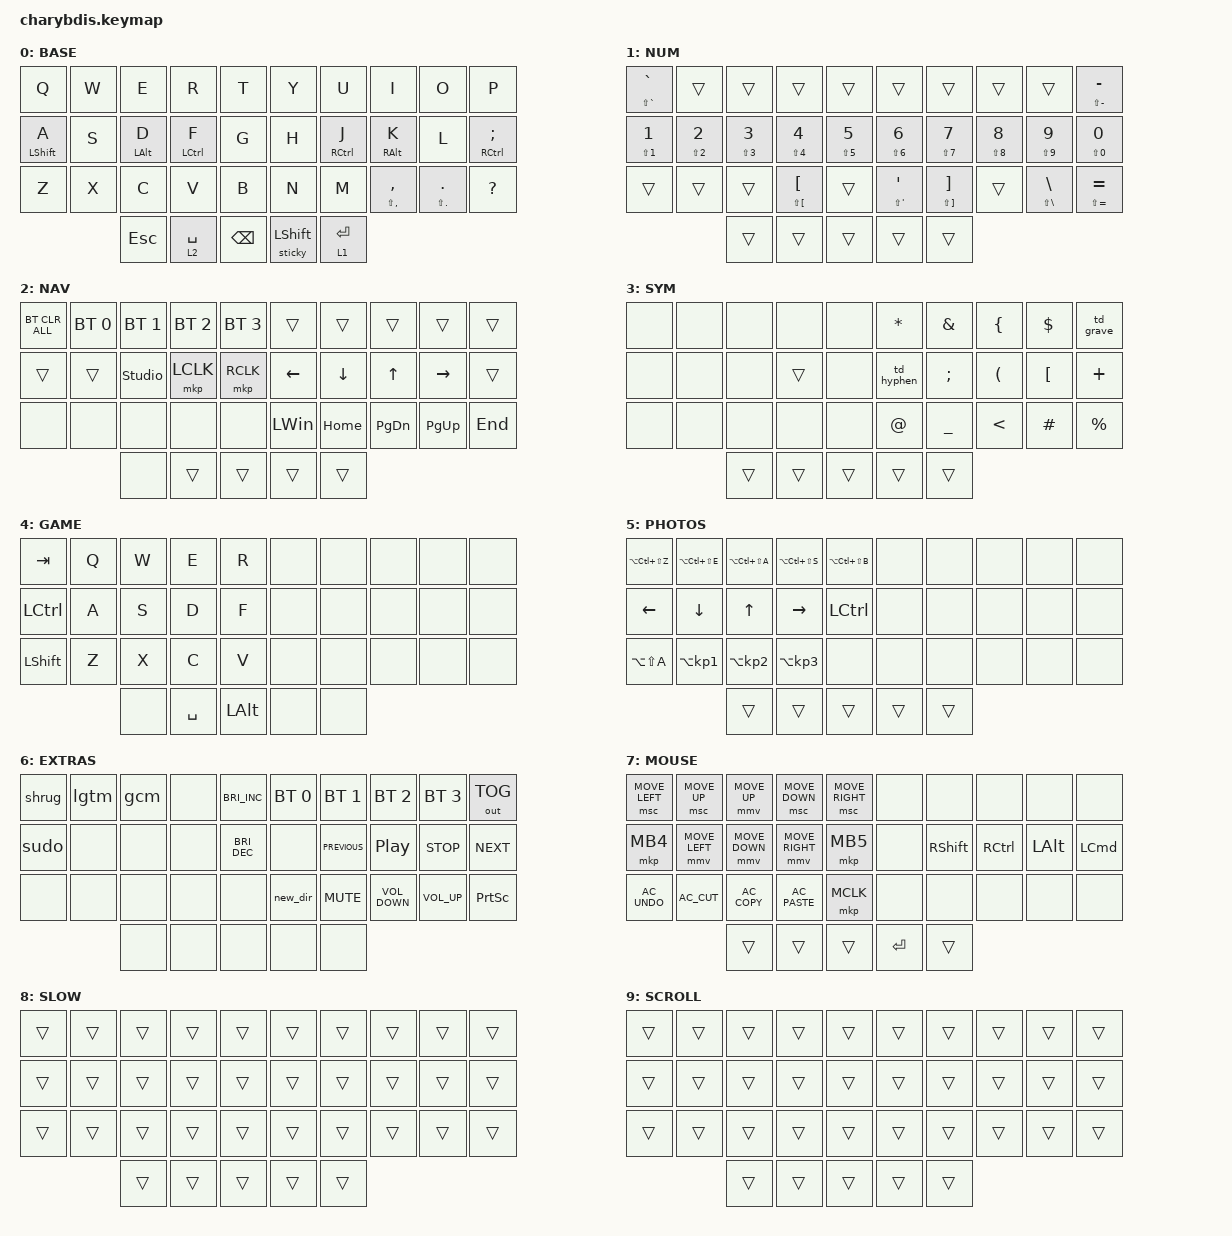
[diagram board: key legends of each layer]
#include <behaviors.dtsi>
#include <dt-bindings/zmk/bt.h>
#include <dt-bindings/zmk/keys.h>
#include <dt-bindings/zmk/mouse.h>
#include <dt-bindings/zmk/outputs.h>
#include <behaviors/mouse_keys.dtsi>
#include <dt-bindings/zmk/ext_power.h>
#include "macros.dtsi"
#include "behaviors.dtsi"
#include "combos.dtsi"
#include <dt-bindings/zmk/pointing.h>

/ {
    /* input config for mouse move mode */

    trackball_listener {
        compatible = "zmk,input-behavior-listener";
        device = <&vtrackball>;
        layers = <0 1 2 3 4 5 6 7>;
        evt-type = <INPUT_EV_REL>;
        x-input-code = <INPUT_REL_X>;
        y-input-code = <INPUT_REL_Y>;
        scale-multiplier = <4>;
        scale-divisor = <5>;

        // bindings = <&ib_toggle_layer 7>;
    };

    /* input config for snipe mode */

    trackball_snipe_listener {
        compatible = "zmk,input-behavior-listener";
        device = <&vtrackball>;
        layers = <8>;
        evt-type = <INPUT_EV_REL>;
        x-input-code = <INPUT_REL_X>;
        y-input-code = <INPUT_REL_Y>;
        scale-multiplier = <1>;
        scale-divisor = <6>;
    };

    /* input config for mouse scroll mode */

    trackball_scroll_listener {
        compatible = "zmk,input-behavior-listener";
        device = <&vtrackball>;
        layers = <9>;
        evt-type = <INPUT_EV_REL>;
        x-input-code = <INPUT_REL_MISC>;
        y-input-code = <INPUT_REL_WHEEL>;
        y-invert;
        bindings = <&ib_wheel_scaler 1 14>;
    };

    /* define a resolution down scaler only for INPUT_REL_WHEEL */

    ib_wheel_scaler: ib_wheel_scaler {
        compatible = "zmk,input-behavior-scaler";
        #binding-cells = <2>;
        evt-type = <INPUT_EV_REL>;
        input-code = <INPUT_REL_WHEEL>;
    };

    /* adjust cooldown waiting period for mouse key layer after activated */

    ib_toggle_layer: ib_toggle_layer {
        compatible = "zmk,input-behavior-tog-layer";
        #binding-cells = <1>;
        time-to-live-ms = <750>;
    };

    // ╭──────┬──────┬──────┬──────┬──────┬──────╮  ╭──────┬──────┬──────┬──────┬──────┬──────╮
    //    00     01     02     03    04      05        06     07     08     09     10     11
    // ├──────┼──────┼──────┼──────┼──────┼──────┤  ├──────┼──────┼──────┼──────┼──────┼──────┤
    //    12     13     14     15    16      17        18     19     20     21     22     23
    // ├──────┼──────┼──────┼──────┼──────┼──────┤  ├──────┼──────┼──────┼──────┼──────┼──────┤
    //    24     25     26     27    28      29        30     31     32     33     34     35
    // ╰──────┴──────┴──────┼──────┼──────┼──────┤  ├──────┼──────┼──────┴──────┴──────┴──────╯
    //                         36     37     38        39     40
    //                      ╰──────┴──────┴──────╯  ╰──────┴──────╯
    // #define BASE    0
    // #define NUM     1
    // #define NAV     2
    // #define SYM     3
    // #define GAME    4
    // #define PHOTOS  5
    // #define EXTRAS  6
    // #define MOUSE   7
    // #define SLOW    8
    // #define SCROLL  9

    behaviors {
        hm_rick: hmrick {
            compatible = "zmk,behavior-hold-tap";
            label = "HMRICK";
            bindings = <&kp>, <&kp>;

            #binding-cells = <2>;
            flavor = "tap-preferred";
            tapping-term-ms = <200>; // triggers the hold behavior when the tapping-term-ms has expired
            quick-tap-ms = <175>; // If you press a tapped hold-tap again within quick-tap-ms milliseconds of the first press, it will always trigger the tap behavior.
            require-prior-idle-ms = <185>; // like quick-tap-ms however it will apply for any non-modifier key pressed before it
        };

        as_ht: autoshift_hold_tap {
            compatible = "zmk,behavior-hold-tap";
            label = "AUTOSHIFT_HOLD_TAP";
            #binding-cells = <2>;
            tapping-term-ms = <200>;
            bindings = <&shifted>, <&kp>;
        };

        sticky: sticky {
            compatible = "zmk,behavior-sticky-key";
            label = "STICKY";
            bindings = <&kp>;
            #binding-cells = <1>;
            release-after-ms = <10000>;
        };
    };

    macros {
        shifted: macro_shifted_kp {
            #binding-cells = <1>;
            label = "MACRO_SHIFTED_KP";
            compatible = "zmk,behavior-macro-one-param";
            bindings =
                <&macro_press>,
                <&kp LSHFT &macro_param_1to1>,
                <&macro_tap>,
                <&kp MACRO_PLACEHOLDER>,
                <&macro_release>,
                <&kp LSHFT>;
        };

        as: autoshift {
            compatible = "zmk,behavior-macro-one-param";
            #binding-cells = <1>;
            label = "AUTOSHIFT_KP";
            bindings =
                <&macro_press>,
                <&macro_param_1to1 &macro_param_1to2 &as_ht MACRO_PLACEHOLDER MACRO_PLACEHOLDER>,
                <&macro_pause_for_release>,
                <&macro_release>,
                <&macro_param_1to1 &macro_param_1to2 &as_ht MACRO_PLACEHOLDER MACRO_PLACEHOLDER>;
        };
    };

    keymap {
        compatible = "zmk,keymap";

        BASE {
            bindings = <
  &kp Q                  &kp W  &kp E                &kp R                    &kp T            &kp Y               &kp U                     &kp I                   &kp O                     &kp P
  &hm_rick LEFT_SHIFT A  &kp S  &hm_rick LEFT_ALT D  &hm_rick LEFT_CONTROL F  &kp G            &kp H               &hm_rick RIGHT_CONTROL J  &as_ht RIGHT_ALT K      &kp L                     &hm_rick RIGHT_CONTROL SEMI
  &kp Z                  &kp X  &kp C                &kp V                    &kp B            &kp N               &kp M                     &as_ht LS(COMMA) COMMA  &as_ht LS(PERIOD) PERIOD  &kp QUESTION
                                &kp ESCAPE           &lt 2 SPACE              &kp BACKSPACE    &sticky LEFT_SHIFT  &lt 1 ENTER
            >;
        };

        NUM {
            bindings = <
  &as_ht LS(GRAVE) GRAVE  &trans            &trans            &trans                &trans              &trans                                &trans                &trans            &trans                          &as_ht LS(MINUS) MINUS
  &as_ht LS(N1) NUMBER_1  &as_ht LS(N2) N2  &as_ht LS(N3) N3  &as_ht LS(N4) N4      &as_ht LS(N5) N5    &as_ht LS(N6) N6                      &as_ht LS(N7) N7      &as_ht LS(N8) N8  &as_ht LS(N9) N9                &as_ht LS(N0) N0
  &trans                  &trans            &trans            &as_ht LS(LBKT) LBKT  &trans              &as_ht LS(SINGLE_QUOTE) SINGLE_QUOTE  &as_ht LS(RBKT) RBKT  &trans            &as_ht LS(BACKSLASH) BACKSLASH  &as_ht LS(EQUAL) EQUAL
                                            &trans            &trans                &trans              &trans                                &trans
            >;
        };

        NAV {
            bindings = <
  &bt BT_CLR_ALL  &bt BT_SEL 0  &bt BT_SEL 1    &bt BT_SEL 2  &bt BT_SEL 3    &trans          &trans          &trans        &trans     &trans
  &trans          &trans        &studio_unlock  &mkp LCLK     &mkp RCLK       &kp LEFT_ARROW  &kp DOWN_ARROW  &kp UP_ARROW  &kp RIGHT  &trans
  &none           &none         &none           &none         &none           &kp LEFT_WIN    &kp HOME        &kp PG_DN     &kp PG_UP  &kp END
                                &none           &trans        &trans          &trans          &trans
            >;
        };

        SYM {
            bindings = <
  &none  &none  &none   &none   &none     &kp ASTRK    &kp AMPS        &kp LEFT_BRACE  &kp DLLR  &td_grave
  &none  &none  &none   &trans  &none     &td_hyphen   &kp SEMICOLON   &kp LPAR        &kp LBKT  &kp PLUS
  &none  &none  &none   &none   &none     &kp AT_SIGN  &kp UNDERSCORE  &kp LT          &kp HASH  &kp PRCNT
                &trans  &trans  &trans    &trans       &trans
            >;
        };

        GAME {
            bindings = <
  &kp TAB    &kp Q  &kp W  &kp E      &kp R           &none  &none  &none  &none  &none
  &kp LCTRL  &kp A  &kp S  &kp D      &kp F           &none  &none  &none  &none  &none
  &kp LSHFT  &kp Z  &kp X  &kp C      &kp V           &none  &none  &none  &none  &none
                    &none  &kp SPACE  &kp LEFT_ALT    &none  &none
            >;
        };

        PHOTOS {
            bindings = <
  &kp LA(LC(LS(Z)))  &kp LA(LC(LS(E)))  &kp LA(LC(LS(A)))  &kp LA(LC(LS(S)))  &kp LA(LC(LS(B)))    &none   &none   &none  &none  &none
  &kp LEFT           &kp DOWN           &kp UP             &kp RIGHT          &kp LCTRL            &none   &none   &none  &none  &none
  &kp LA(LS(A))      &kp LA(KP_N1)      &kp LA(KP_N2)      &kp LA(KP_N3)      &none                &none   &none   &none  &none  &none
                                        &trans             &trans             &trans               &trans  &trans
            >;
        };

        EXTRAS {
            bindings = <
  &shrug  &lgtm  &gcm   &none  &kp C_BRIGHTNESS_INC    &bt BT_SEL 0  &bt BT_SEL 1    &bt BT_SEL 2       &bt BT_SEL 3     &out OUT_TOG
  &sudo   &none  &none  &none  &kp C_BRIGHTNESS_DEC    &none         &kp C_PREVIOUS  &kp C_PLAY_PAUSE   &kp C_STOP       &kp C_NEXT
  &none   &none  &none  &none  &none                   &new_dir      &kp K_MUTE      &kp C_VOLUME_DOWN  &kp C_VOLUME_UP  &kp PRINTSCREEN
                 &none  &none  &none                   &none         &none
            >;
        };

        MOUSE {
            bindings = <
  &msc MOVE_LEFT  &msc MOVE_UP    &mmv MOVE_UP    &msc MOVE_DOWN   &msc MOVE_RIGHT    &none       &none            &none      &none         &none
  &mkp MB4        &mmv MOVE_LEFT  &mmv MOVE_DOWN  &mmv MOVE_RIGHT  &mkp MB5           &none       &kp RIGHT_SHIFT  &kp RCTRL  &kp LEFT_ALT  &kp LCMD
  &kp C_AC_UNDO   &kp C_AC_CUT    &kp C_AC_COPY   &kp C_AC_PASTE   &mkp MCLK          &none       &none            &none      &none         &none
                                  &trans          &trans           &trans             &kp RETURN  &trans
            >;
        };

        SLOW {
            bindings = <
  &trans  &trans  &trans  &trans  &trans    &trans  &trans  &trans  &trans  &trans
  &trans  &trans  &trans  &trans  &trans    &trans  &trans  &trans  &trans  &trans
  &trans  &trans  &trans  &trans  &trans    &trans  &trans  &trans  &trans  &trans
                  &trans  &trans  &trans    &trans  &trans
            >;
        };

        SCROLL {
            bindings = <
  &trans  &trans  &trans  &trans  &trans    &trans  &trans  &trans  &trans  &trans
  &trans  &trans  &trans  &trans  &trans    &trans  &trans  &trans  &trans  &trans
  &trans  &trans  &trans  &trans  &trans    &trans  &trans  &trans  &trans  &trans
                  &trans  &trans  &trans    &trans  &trans
            >;
        };
    };
};
